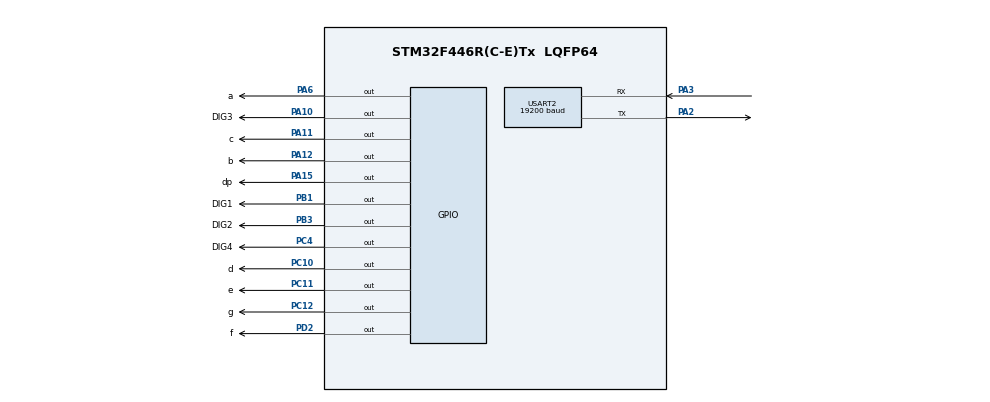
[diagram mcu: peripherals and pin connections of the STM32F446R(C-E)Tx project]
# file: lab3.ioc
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Mcu.Family=STM32F4
RCC.CortexFreq_Value=16000000
PC10.GPIO_Label=d
PC10.Signal=GPIO_Output
PC11.Signal=GPIO_Output
PC12.Signal=GPIO_Output
PC4.Signal=GPIO_Output
PA11.GPIO_Label=c
PA6.GPIO_Label=a
NVIC.USART2_IRQn=true\:0\:0\:false\:false\:true\:true\:true
USART2.BaudRate=19200
PA12.GPIO_Label=b
ProjectManager.StackSize=0x400
PA3.Mode=Asynchronous
PA15.GPIO_Label=dp
PA12.Signal=GPIO_Output
ProjectManager.TargetToolchain=STM32CubeIDE
RCC.USBFreq_Value=96000000
board=custom
RCC.VCOOutputFreq_Value=192000000
PC4.GPIO_Label=DIG4
PB1.GPIO_Label=DIG1
PC11.GPIO_Label=e
PA10.GPIO_Label=DIG3
Mcu.Name=STM32F446R(C-E)Tx
PA2.Signal=USART2_TX
PB3.Signal=GPIO_Output
Mcu.Package=LQFP64
PB1.Signal=GPIO_Output
PA6.Signal=GPIO_Output
USART2.VirtualMode=VM_ASYNC
PC12.GPIO_Label=g
PA11.Signal=GPIO_Output
PA10.Signal=GPIO_Output
PA15.Signal=GPIO_Output
ProjectManager.HeapSize=0x200
NVIC.PriorityGroup=NVIC_PRIORITYGROUP_4
PA2.Mode=Asynchronous
PD2.Signal=GPIO_Output
PD2.GPIO_Label=f
PA3.Signal=USART2_RX
PB3.GPIO_Label=DIG2

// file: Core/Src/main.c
/* USER CODE BEGIN Header */
/**
  ******************************************************************************
  * @file           : main.c
  * @brief          : Main program body
  ******************************************************************************
  * @attention
  *
  * <h2><center>&copy; Copyright (c) 2023 STMicroelectronics.
  * All rights reserved.</center></h2>
  *
  * This software component is licensed by ST under BSD 3-Clause license,
  * the "License"; You may not use this file except in compliance with the
  * License. You may obtain a copy of the License at:
  *                        opensource.org/licenses/BSD-3-Clause
  *
  ******************************************************************************
  */
/* USER CODE END Header */
#include "main.h"

/* USER CODE BEGIN Includes */
#include <stdio.h>
#include <math.h>
/* USER CODE END Includes */

UART_HandleTypeDef huart2;

/* USER CODE BEGIN PV */
int n;
int undef_flag = 1;
int n_r;
int res_n;
uint8_t rx_buffer[4];
char tx_buffer[5];
/* USER CODE END PV */

void SystemClock_Config(void);
static void MX_GPIO_Init(void);
static void MX_USART2_UART_Init(void);

/* USER CODE BEGIN 0 */
void set_line () {
    HAL_GPIO_WritePin(GPIOA, a_Pin, GPIO_PIN_SET); //A
    HAL_GPIO_WritePin(GPIOA, b_Pin, GPIO_PIN_SET); //B
    HAL_GPIO_WritePin(GPIOA, c_Pin, GPIO_PIN_SET); //C
    HAL_GPIO_WritePin(GPIOC, d_Pin, GPIO_PIN_SET); //D
    HAL_GPIO_WritePin(GPIOC, e_Pin, GPIO_PIN_SET); //E
    HAL_GPIO_WritePin(GPIOD, f_Pin, GPIO_PIN_SET);	//F
    HAL_GPIO_WritePin(GPIOC, g_Pin, GPIO_PIN_RESET);  //G
    HAL_GPIO_WritePin(GPIOA, dp_Pin, GPIO_PIN_SET);  //dp
}

void set_number (int number)
{
    switch (number)
    {
        case 0:
        {
            HAL_GPIO_WritePin(GPIOA, a_Pin, GPIO_PIN_RESET); //A
            HAL_GPIO_WritePin(GPIOA, b_Pin, GPIO_PIN_RESET); //B
            HAL_GPIO_WritePin(GPIOA, c_Pin, GPIO_PIN_RESET); //C
            HAL_GPIO_WritePin(GPIOC, d_Pin, GPIO_PIN_RESET); //D
            HAL_GPIO_WritePin(GPIOC, e_Pin, GPIO_PIN_RESET); //E
            HAL_GPIO_WritePin(GPIOD, f_Pin, GPIO_PIN_RESET);	//F
            HAL_GPIO_WritePin(GPIOC, g_Pin, GPIO_PIN_SET);  //G
            HAL_GPIO_WritePin(GPIOA, dp_Pin, GPIO_PIN_SET);  //dp

            break;
        }

        case 1:
        {
            HAL_GPIO_WritePin(GPIOA, a_Pin, GPIO_PIN_SET); //A
            HAL_GPIO_WritePin(GPIOA, b_Pin, GPIO_PIN_RESET); //B
            HAL_GPIO_WritePin(GPIOA, c_Pin, GPIO_PIN_RESET); //C
            HAL_GPIO_WritePin(GPIOC, d_Pin, GPIO_PIN_SET); //D
            HAL_GPIO_WritePin(GPIOC, e_Pin, GPIO_PIN_SET); //E
            HAL_GPIO_WritePin(GPIOD, f_Pin, GPIO_PIN_SET);	//F
            HAL_GPIO_WritePin(GPIOC, g_Pin, GPIO_PIN_SET);  //G
            HAL_GPIO_WritePin(GPIOA, dp_Pin, GPIO_PIN_SET);  //dp

            break;
        }

        case 2:
        {
            HAL_GPIO_WritePin(GPIOA, a_Pin, GPIO_PIN_RESET); //A
            HAL_GPIO_WritePin(GPIOA, b_Pin, GPIO_PIN_RESET); //B
            HAL_GPIO_WritePin(GPIOA, c_Pin, GPIO_PIN_SET); //C
            HAL_GPIO_WritePin(GPIOC, d_Pin, GPIO_PIN_RESET); //D
            HAL_GPIO_WritePin(GPIOC, e_Pin, GPIO_PIN_RESET); //E
            HAL_GPIO_WritePin(GPIOD, f_Pin, GPIO_PIN_SET);	//F
            HAL_GPIO_WritePin(GPIOC, g_Pin, GPIO_PIN_RESET);  //G
            HAL_GPIO_WritePin(GPIOA, dp_Pin, GPIO_PIN_SET);  //dp

            break;
        }

        case 3:
        {
            HAL_GPIO_WritePin(GPIOA, a_Pin, GPIO_PIN_RESET); //A
            HAL_GPIO_WritePin(GPIOA, b_Pin, GPIO_PIN_RESET); //B
            HAL_GPIO_WritePin(GPIOA, c_Pin, GPIO_PIN_RESET); //C
            HAL_GPIO_WritePin(GPIOC, d_Pin, GPIO_PIN_RESET); //D
            HAL_GPIO_WritePin(GPIOC, e_Pin, GPIO_PIN_SET); //E
            HAL_GPIO_WritePin(GPIOD, f_Pin, GPIO_PIN_SET);	//F
            HAL_GPIO_WritePin(GPIOC, g_Pin, GPIO_PIN_RESET);  //G

            HAL_GPIO_WritePin(GPIOA, dp_Pin, GPIO_PIN_SET);  //dp

            break;
        }

        case 4:
        {
            HAL_GPIO_WritePin(GPIOA, a_Pin, GPIO_PIN_SET); //A
            HAL_GPIO_WritePin(GPIOA, b_Pin, GPIO_PIN_RESET); //B
            HAL_GPIO_WritePin(GPIOA, c_Pin, GPIO_PIN_RESET); //C
            HAL_GPIO_WritePin(GPIOC, d_Pin, GPIO_PIN_SET); //D
            HAL_GPIO_WritePin(GPIOC, e_Pin, GPIO_PIN_SET); //E
            HAL_GPIO_WritePin(GPIOD, f_Pin, GPIO_PIN_RESET);	//F
            HAL_GPIO_WritePin(GPIOC, g_Pin, GPIO_PIN_RESET);  //G
            HAL_GPIO_WritePin(GPIOA, dp_Pin, GPIO_PIN_SET);  //dp

            break;
        }

        case 5:
        {
            HAL_GPIO_WritePin(GPIOA, a_Pin, GPIO_PIN_RESET); //A
            HAL_GPIO_WritePin(GPIOA, b_Pin, GPIO_PIN_SET); //B
            HAL_GPIO_WritePin(GPIOA, c_Pin, GPIO_PIN_RESET); //C
            HAL_GPIO_WritePin(GPIOC, d_Pin, GPIO_PIN_RESET); //D
            HAL_GPIO_WritePin(GPIOC, e_Pin, GPIO_PIN_SET); //E
            HAL_GPIO_WritePin(GPIOD, f_Pin, GPIO_PIN_RESET);	//F
            HAL_GPIO_WritePin(GPIOC, g_Pin, GPIO_PIN_RESET);  //G
            HAL_GPIO_WritePin(GPIOA, dp_Pin, GPIO_PIN_SET);  //dp

            break;
        }

        case 6:
        {
            HAL_GPIO_WritePin(GPIOA, a_Pin, GPIO_PIN_RESET); //A
            HAL_GPIO_WritePin(GPIOA, b_Pin, GPIO_PIN_SET); //B
            HAL_GPIO_WritePin(GPIOA, c_Pin, GPIO_PIN_RESET); //C
            HAL_GPIO_WritePin(GPIOC, d_Pin, GPIO_PIN_RESET); //D
            HAL_GPIO_WritePin(GPIOC, e_Pin, GPIO_PIN_RESET); //E
            HAL_GPIO_WritePin(GPIOD, f_Pin, GPIO_PIN_RESET);	//F
            HAL_GPIO_WritePin(GPIOC, g_Pin, GPIO_PIN_RESET);  //G
            HAL_GPIO_WritePin(GPIOA, dp_Pin, GPIO_PIN_SET);  //dp

            break;
        }

        case 7:
        {
            HAL_GPIO_WritePin(GPIOA, a_Pin, GPIO_PIN_RESET); //A
            HAL_GPIO_WritePin(GPIOA, b_Pin, GPIO_PIN_RESET); //B
            HAL_GPIO_WritePin(GPIOA, c_Pin, GPIO_PIN_RESET); //C
            HAL_GPIO_WritePin(GPIOC, d_Pin, GPIO_PIN_SET); //D
            HAL_GPIO_WritePin(GPIOC, e_Pin, GPIO_PIN_SET); //E
            HAL_GPIO_WritePin(GPIOD, f_Pin, GPIO_PIN_SET);	//F
            HAL_GPIO_WritePin(GPIOC, g_Pin, GPIO_PIN_SET);  //G
            HAL_GPIO_WritePin(GPIOA, dp_Pin, GPIO_PIN_SET);  //dp

            break;
        }

        case 8:
        {
            HAL_GPIO_WritePin(GPIOA, a_Pin, GPIO_PIN_RESET); //A
            HAL_GPIO_WritePin(GPIOA, b_Pin, GPIO_PIN_RESET); //B
            HAL_GPIO_WritePin(GPIOA, c_Pin, GPIO_PIN_RESET); //C
            HAL_GPIO_WritePin(GPIOC, d_Pin, GPIO_PIN_RESET); //D
            HAL_GPIO_WritePin(GPIOC, e_Pin, GPIO_PIN_RESET); //E
            HAL_GPIO_WritePin(GPIOD, f_Pin, GPIO_PIN_RESET);	//F
            HAL_GPIO_WritePin(GPIOC, g_Pin, GPIO_PIN_RESET);  //G
            HAL_GPIO_WritePin(GPIOA, dp_Pin, GPIO_PIN_SET);  //dp

            break;
        }

        case 9:
        {
            HAL_GPIO_WritePin(GPIOA, a_Pin, GPIO_PIN_RESET); //A
            HAL_GPIO_WritePin(GPIOA, b_Pin, GPIO_PIN_RESET); //B
            HAL_GPIO_WritePin(GPIOA, c_Pin, GPIO_PIN_RESET); //C
            HAL_GPIO_WritePin(GPIOC, d_Pin, GPIO_PIN_RESET); //D
            HAL_GPIO_WritePin(GPIOC, e_Pin, GPIO_PIN_SET); //E
            HAL_GPIO_WritePin(GPIOD, f_Pin, GPIO_PIN_RESET);	//F
            HAL_GPIO_WritePin(GPIOC, g_Pin, GPIO_PIN_RESET);  //G
            HAL_GPIO_WritePin(GPIOA, dp_Pin, GPIO_PIN_SET);  //dp

            break;
        }
    }
}

void display_undef () {
    HAL_GPIO_WritePin(GPIOB, DIG1_Pin, GPIO_PIN_SET);
    HAL_GPIO_WritePin(GPIOB, DIG2_Pin, GPIO_PIN_SET);
    HAL_GPIO_WritePin(GPIOA, DIG3_Pin, GPIO_PIN_SET);
    HAL_GPIO_WritePin(GPIOC, DIG4_Pin, GPIO_PIN_RESET);
    set_line();
    HAL_Delay(1);

    HAL_GPIO_WritePin(GPIOB, DIG1_Pin, GPIO_PIN_SET);
    HAL_GPIO_WritePin(GPIOB, DIG2_Pin, GPIO_PIN_SET);
    HAL_GPIO_WritePin(GPIOA, DIG3_Pin, GPIO_PIN_RESET);
    HAL_GPIO_WritePin(GPIOC, DIG4_Pin, GPIO_PIN_SET);
    set_line();
    HAL_Delay(1);

    HAL_GPIO_WritePin(GPIOB, DIG1_Pin, GPIO_PIN_SET);
    HAL_GPIO_WritePin(GPIOB, DIG2_Pin, GPIO_PIN_RESET);
    HAL_GPIO_WritePin(GPIOA, DIG3_Pin, GPIO_PIN_SET);
    HAL_GPIO_WritePin(GPIOC, DIG4_Pin, GPIO_PIN_SET);
    set_line();
    HAL_Delay(1);

    HAL_GPIO_WritePin(GPIOB, DIG1_Pin, GPIO_PIN_RESET);
    HAL_GPIO_WritePin(GPIOB, DIG2_Pin, GPIO_PIN_SET);
    HAL_GPIO_WritePin(GPIOA, DIG3_Pin, GPIO_PIN_SET);
    HAL_GPIO_WritePin(GPIOC, DIG4_Pin, GPIO_PIN_SET);
    set_line();
    HAL_Delay(1);
}

void display_number (int number){

    HAL_GPIO_WritePin(GPIOB, DIG1_Pin, GPIO_PIN_SET);
    HAL_GPIO_WritePin(GPIOB, DIG2_Pin, GPIO_PIN_SET);
    HAL_GPIO_WritePin(GPIOA, DIG3_Pin, GPIO_PIN_SET);
    HAL_GPIO_WritePin(GPIOC, DIG4_Pin, GPIO_PIN_RESET);
    set_number(number % 10);
    HAL_Delay(1);

    HAL_GPIO_WritePin(GPIOB, DIG1_Pin, GPIO_PIN_SET);
    HAL_GPIO_WritePin(GPIOB, DIG2_Pin, GPIO_PIN_SET);
    HAL_GPIO_WritePin(GPIOA, DIG3_Pin, GPIO_PIN_RESET);
    HAL_GPIO_WritePin(GPIOC, DIG4_Pin, GPIO_PIN_SET);
    set_number(number / 10 % 10);
    HAL_Delay(1);

    HAL_GPIO_WritePin(GPIOB, DIG1_Pin, GPIO_PIN_SET);
    HAL_GPIO_WritePin(GPIOB, DIG2_Pin, GPIO_PIN_RESET);
    HAL_GPIO_WritePin(GPIOA, DIG3_Pin, GPIO_PIN_SET);
    HAL_GPIO_WritePin(GPIOC, DIG4_Pin, GPIO_PIN_SET);
    set_number(number / 100 % 10);
    HAL_Delay(1);

    HAL_GPIO_WritePin(GPIOB, DIG1_Pin, GPIO_PIN_RESET);
    HAL_GPIO_WritePin(GPIOB, DIG2_Pin, GPIO_PIN_SET);
    HAL_GPIO_WritePin(GPIOA, DIG3_Pin, GPIO_PIN_SET);
    HAL_GPIO_WritePin(GPIOC, DIG4_Pin, GPIO_PIN_SET);
    set_number(number / 1000 % 10);
    HAL_Delay(1);

}
/* USER CODE END 0 */

int main(void)
{

  /* MCU Configuration--------------------------------------------------------*/

  /* Reset of all peripherals, Initializes the Flash interface and the Systick. */
  HAL_Init();

  /* Configure the system clock */
  SystemClock_Config();

  /* Initialize all configured peripherals */
  MX_GPIO_Init();
  MX_USART2_UART_Init();
  /* USER CODE BEGIN 2 */
  HAL_UART_Receive_IT(&huart2, rx_buffer, sizeof(rx_buffer));
  /* USER CODE END 2 */

  /* Infinite loop */
  while (1)
  {
	if (undef_flag) {
		display_undef();
	}
	else {
		display_number(n);
	}
  }
}

void SystemClock_Config(void)
{
  RCC_OscInitTypeDef RCC_OscInitStruct = {0};
  RCC_ClkInitTypeDef RCC_ClkInitStruct = {0};

  /** Configure the main internal regulator output voltage
  */
  __HAL_RCC_PWR_CLK_ENABLE();
  __HAL_PWR_VOLTAGESCALING_CONFIG(PWR_REGULATOR_VOLTAGE_SCALE3);
  /** Initializes the RCC Oscillators according to the specified parameters
  * in the RCC_OscInitTypeDef structure.
  */
  RCC_OscInitStruct.OscillatorType = RCC_OSCILLATORTYPE_HSI;
  RCC_OscInitStruct.HSIState = RCC_HSI_ON;
  RCC_OscInitStruct.HSICalibrationValue = RCC_HSICALIBRATION_DEFAULT;
  RCC_OscInitStruct.PLL.PLLState = RCC_PLL_NONE;
  if (HAL_RCC_OscConfig(&RCC_OscInitStruct) != HAL_OK)
  {
    Error_Handler();
  }
  /** Initializes the CPU, AHB and APB buses clocks
  */
  RCC_ClkInitStruct.ClockType = RCC_CLOCKTYPE_HCLK|RCC_CLOCKTYPE_SYSCLK
                              |RCC_CLOCKTYPE_PCLK1|RCC_CLOCKTYPE_PCLK2;
  RCC_ClkInitStruct.SYSCLKSource = RCC_SYSCLKSOURCE_HSI;
  RCC_ClkInitStruct.AHBCLKDivider = RCC_SYSCLK_DIV1;
  RCC_ClkInitStruct.APB1CLKDivider = RCC_HCLK_DIV1;
  RCC_ClkInitStruct.APB2CLKDivider = RCC_HCLK_DIV1;

  if (HAL_RCC_ClockConfig(&RCC_ClkInitStruct, FLASH_LATENCY_0) != HAL_OK)
  {
    Error_Handler();
  }
}

static void MX_USART2_UART_Init(void)
{

  huart2.Instance = USART2;
  huart2.Init.BaudRate = 19200;
  huart2.Init.WordLength = UART_WORDLENGTH_8B;
  huart2.Init.StopBits = UART_STOPBITS_1;
  huart2.Init.Parity = UART_PARITY_NONE;
  huart2.Init.Mode = UART_MODE_TX_RX;
  huart2.Init.HwFlowCtl = UART_HWCONTROL_NONE;
  huart2.Init.OverSampling = UART_OVERSAMPLING_16;
  if (HAL_UART_Init(&huart2) != HAL_OK)
  {
    Error_Handler();
  }

}

static void MX_GPIO_Init(void)
{
  GPIO_InitTypeDef GPIO_InitStruct = {0};

  /* GPIO Ports Clock Enable */
  __HAL_RCC_GPIOA_CLK_ENABLE();
  __HAL_RCC_GPIOC_CLK_ENABLE();
  __HAL_RCC_GPIOB_CLK_ENABLE();
  __HAL_RCC_GPIOD_CLK_ENABLE();

  /*Configure GPIO pin Output Level */
  HAL_GPIO_WritePin(GPIOA, a_Pin|DIG3_Pin|c_Pin|b_Pin
                          |dp_Pin, GPIO_PIN_RESET);

  /*Configure GPIO pin Output Level */
  HAL_GPIO_WritePin(GPIOC, DIG4_Pin|d_Pin|e_Pin|g_Pin, GPIO_PIN_RESET);

  /*Configure GPIO pin Output Level */
  HAL_GPIO_WritePin(GPIOB, DIG1_Pin|DIG2_Pin, GPIO_PIN_RESET);

  /*Configure GPIO pin Output Level */
  HAL_GPIO_WritePin(f_GPIO_Port, f_Pin, GPIO_PIN_RESET);

  /*Configure GPIO pins : a_Pin DIG3_Pin c_Pin b_Pin
                           dp_Pin */
  GPIO_InitStruct.Pin = a_Pin|DIG3_Pin|c_Pin|b_Pin
                          |dp_Pin;
  GPIO_InitStruct.Mode = GPIO_MODE_OUTPUT_PP;
  GPIO_InitStruct.Pull = GPIO_NOPULL;
  GPIO_InitStruct.Speed = GPIO_SPEED_FREQ_LOW;
  HAL_GPIO_Init(GPIOA, &GPIO_InitStruct);

  /*Configure GPIO pins : DIG4_Pin d_Pin e_Pin g_Pin */
  GPIO_InitStruct.Pin = DIG4_Pin|d_Pin|e_Pin|g_Pin;
  GPIO_InitStruct.Mode = GPIO_MODE_OUTPUT_PP;
  GPIO_InitStruct.Pull = GPIO_NOPULL;
  GPIO_InitStruct.Speed = GPIO_SPEED_FREQ_LOW;
  HAL_GPIO_Init(GPIOC, &GPIO_InitStruct);

  /*Configure GPIO pins : DIG1_Pin DIG2_Pin */
  GPIO_InitStruct.Pin = DIG1_Pin|DIG2_Pin;
  GPIO_InitStruct.Mode = GPIO_MODE_OUTPUT_PP;
  GPIO_InitStruct.Pull = GPIO_NOPULL;
  GPIO_InitStruct.Speed = GPIO_SPEED_FREQ_LOW;
  HAL_GPIO_Init(GPIOB, &GPIO_InitStruct);

  /*Configure GPIO pin : f_Pin */
  GPIO_InitStruct.Pin = f_Pin;
  GPIO_InitStruct.Mode = GPIO_MODE_OUTPUT_PP;
  GPIO_InitStruct.Pull = GPIO_NOPULL;
  GPIO_InitStruct.Speed = GPIO_SPEED_FREQ_LOW;
  HAL_GPIO_Init(f_GPIO_Port, &GPIO_InitStruct);

}

/* USER CODE BEGIN 4 */
void HAL_UART_RxCpltCallback(UART_HandleTypeDef *huart) {
	n_r = ((int)rx_buffer[1] - 48) * 10 + ((int)rx_buffer[2] - 48);  // since the numbers (digits) start from 48 in ASCII code
	if (n_r == 0) {
		undef_flag = 1;
		sprintf(tx_buffer, "N--E");
	}
	else {
		undef_flag = 0;
		res_n = (int)round(log(n_r));
		n = res_n;
		sprintf(tx_buffer, "N0%uE", res_n);
	}
	HAL_UART_Transmit_IT(&huart2, (uint8_t*)tx_buffer, sizeof(tx_buffer));
	HAL_UART_Receive_IT(&huart2, rx_buffer, sizeof(rx_buffer));
}
/* USER CODE END 4 */

void Error_Handler(void)
{
  __disable_irq();
  while (1)
  {
  }
}

/************************ (C) COPYRIGHT STMicroelectronics *****END OF FILE****/
